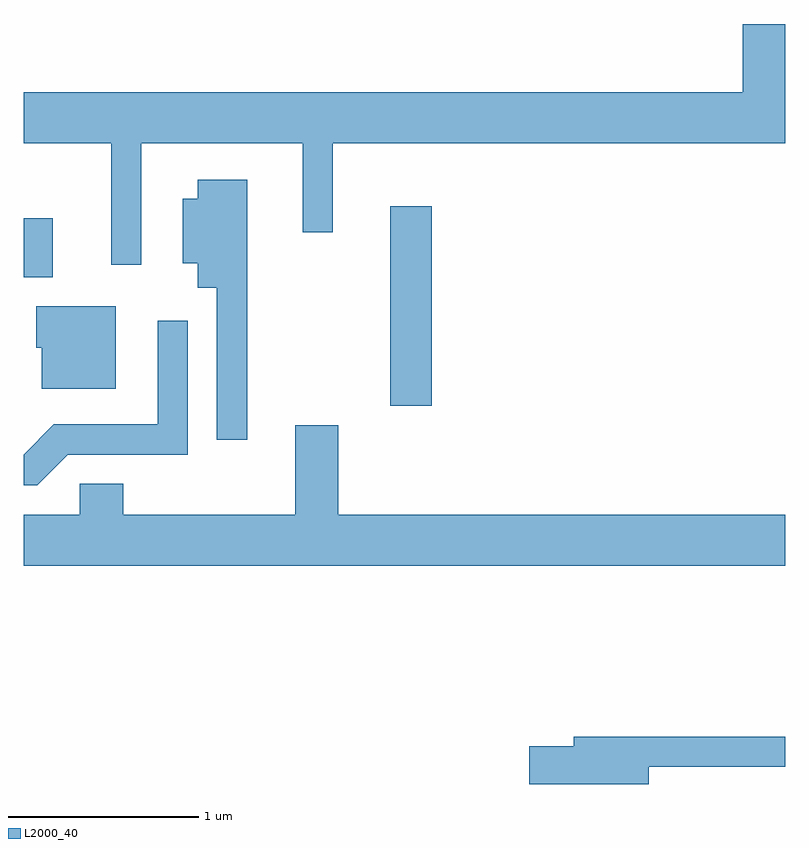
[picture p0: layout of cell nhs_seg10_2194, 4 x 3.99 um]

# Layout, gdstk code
import gdstk
lib = gdstk.Library(unit=1e-6, precision=1e-09)
def R(c, l, rs):  # rectangles x0, y0, x1, y1
    for r in rs: c.add(gdstk.rectangle(r[:2], r[2:], *l))
def P(c, l, *ps):  # polygons
    for p in ps: c.add(gdstk.Polygon(p, *l))
L2000_40 = (2000, 40)

nhs_seg10_2194 = lib.new_cell('nhs_seg10_2194')
R(nhs_seg10_2194, L2000_40, [(251.536,2132.516,251.754,2133.564), (249.611,2133.191,249.764,2133.503)])
P(nhs_seg10_2194, L2000_40, [(250.229,2133.896),(251.076,2133.896),(251.076,2133.428),(251.234,2133.428),(251.234,2133.896),(253.611,2133.896),(253.611,2134.522),(253.386,2134.522),(253.386,2134.164),(249.611,2134.164),(249.611,2133.896),(250.071,2133.896),(250.071,2133.258),(250.229,2133.258)],
  [(250.784,2133.704),(250.526,2133.704),(250.526,2133.604),(250.446,2133.604),(250.446,2133.266),(250.526,2133.266),(250.526,2133.136),(250.626,2133.136),(250.626,2132.338),(250.784,2132.338)],
  [(250.094,2133.039),(249.676,2133.039),(249.676,2132.821),(249.706,2132.821),(249.706,2132.606),(250.094,2132.606)],
  [(249.842,2132.261),(250.474,2132.261),(250.474,2132.963),(250.316,2132.963),(250.316,2132.419),(249.769,2132.419),(249.611,2132.261),(249.611,2132.101),(249.682,2132.101)],
  [(253.611,2131.944),(251.264,2131.944),(251.264,2132.414),(251.036,2132.414),(251.036,2131.944),(250.134,2131.944),(250.134,2132.109),(249.906,2132.109),(249.906,2131.944),(249.611,2131.944),(249.611,2131.676),(253.611,2131.676)],
  [(252.894,2130.621),(253.611,2130.621),(253.611,2130.779),(252.501,2130.779),(252.501,2130.729),(252.266,2130.729),(252.266,2130.531),(252.894,2130.531)])

lib.write_gds('nhs_seg10_2194.gds')
